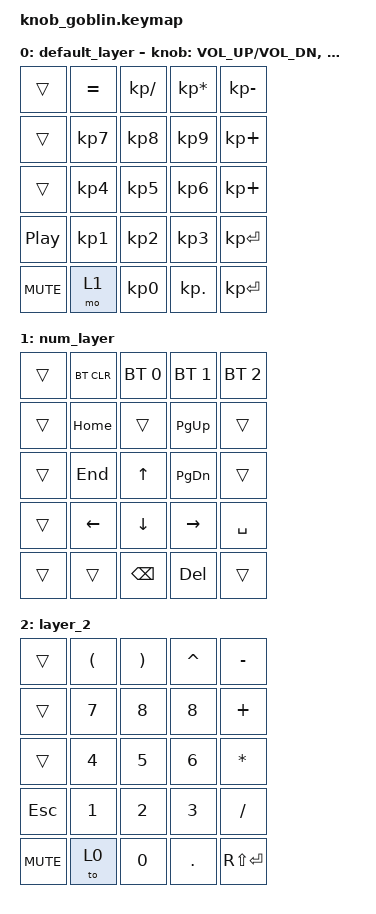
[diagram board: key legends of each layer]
/*
 * Copyright (c) 2022 The ZMK Contributors
 *
 * SPDX-License-Identifier: MIT
 */

#include <behaviors.dtsi>
#include <dt-bindings/zmk/bt.h>
#include <dt-bindings/zmk/keys.h>

/ {
    keymap {
        compatible = "zmk,keymap";

        default_layer {
            bindings = <
&trans            &kp EQUAL        &kp KP_DIVIDE    &kp KP_MULTIPLY  &kp KP_MINUS
&trans            &kp KP_NUMBER_7  &kp KP_NUMBER_8  &kp KP_NUMBER_9  &kp KP_PLUS
&trans            &kp KP_NUMBER_4  &kp KP_NUMBER_5  &kp KP_NUMBER_6  &kp KP_PLUS
&kp C_PLAY_PAUSE  &kp KP_NUMBER_1  &kp KP_NUMBER_2  &kp KP_NUMBER_3  &kp KP_ENTER
&kp C_MUTE        &mo 1            &kp KP_NUMBER_0  &kp KP_DOT       &kp KP_ENTER
            >;

            sensor-bindings = <&inc_dec_kp C_VOL_UP C_VOL_DN &inc_dec_kp PG_UP PG_DN>;
        };

        num_layer {
            bindings = <
&trans  &bt BT_CLR      &bt BT_SEL 0    &bt BT_SEL 1     &bt BT_SEL 2
&trans  &kp HOME        &trans          &kp PAGE_UP      &trans
&trans  &kp END         &kp UP_ARROW    &kp PAGE_DOWN    &trans
&trans  &kp LEFT_ARROW  &kp DOWN_ARROW  &kp RIGHT_ARROW  &kp SPACE
&trans  &trans          &kp BACKSPACE   &kp DELETE       &trans
            >;
        };

        layer_2 {
            bindings = <
&trans      &kp LEFT_PARENTHESIS  &kp RIGHT_PARENTHESIS  &kp CARET     &kp MINUS
&trans      &kp NUMBER_7          &kp NUMBER_8           &kp NUMBER_8  &kp PLUS
&trans      &kp NUMBER_4          &kp NUMBER_5           &kp NUMBER_6  &kp ASTRK
&kp ESC     &kp NUMBER_1          &kp NUMBER_2           &kp NUMBER_3  &kp SLASH
&kp K_MUTE  &to 0                 &kp NUMBER_0           &kp PERIOD    &kp RS(ENTER)
            >;
        };
    };
};
